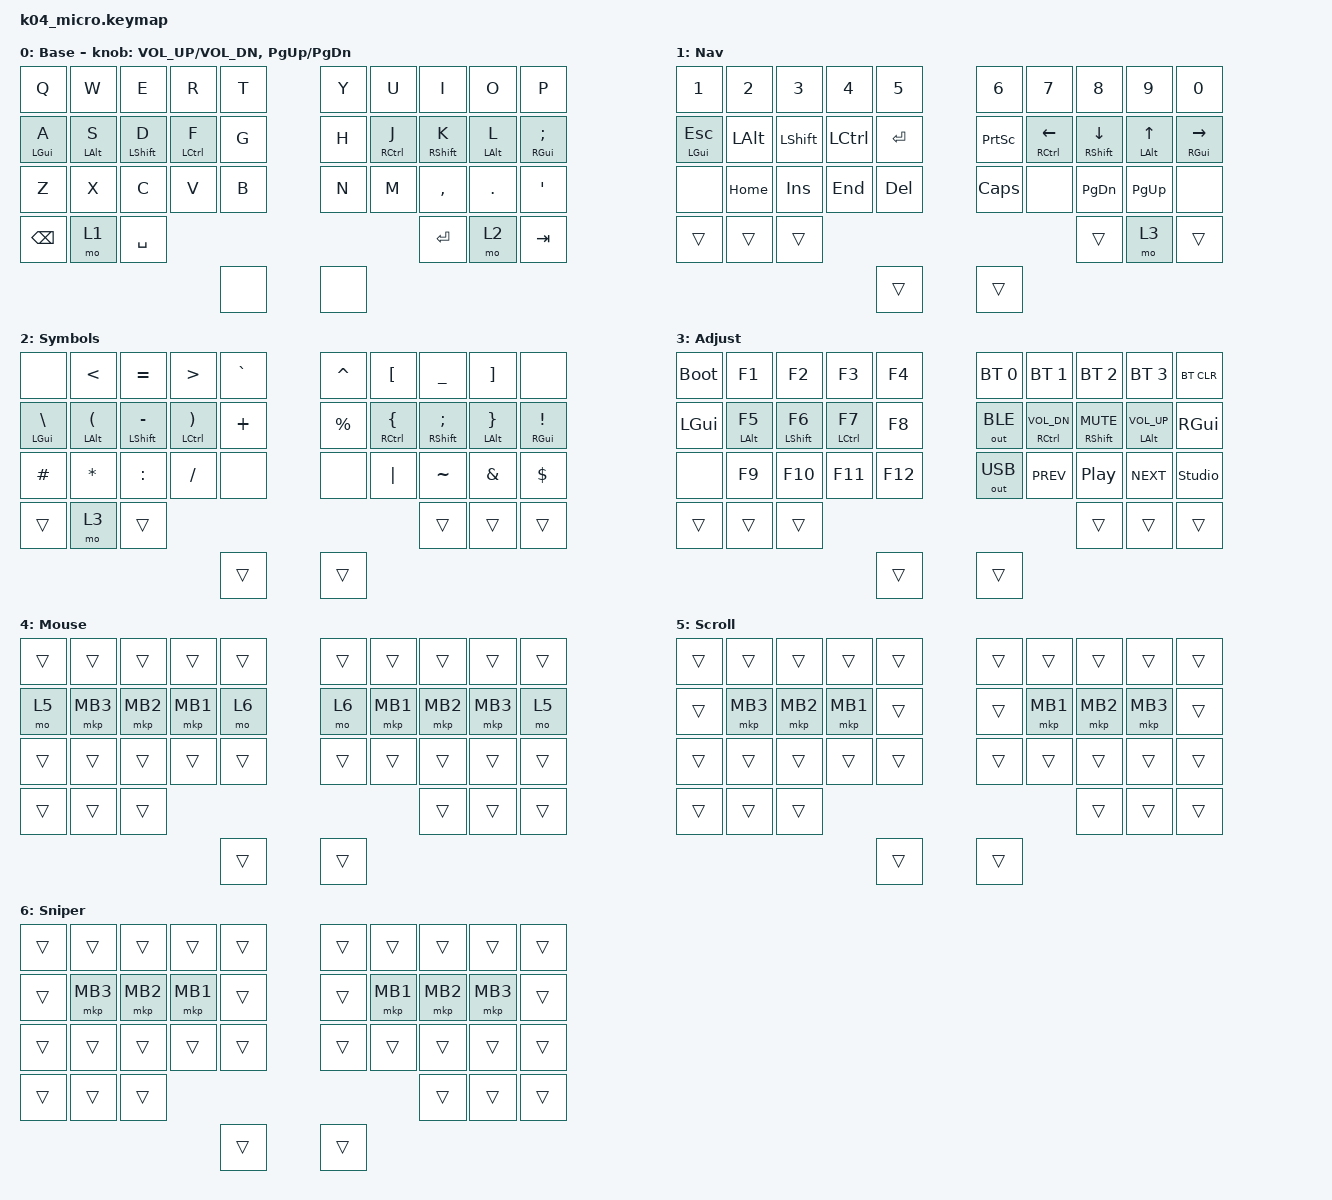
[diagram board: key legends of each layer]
/*
 * K:04 Micro — базовый вариант (аналог op36.keymap)
 *
 * Состав:
 *   - позиции 0-35 и все слои: 1:1 из config/op36.keymap
 *   - позиции 36,37: кнопки модульных отсеков K:04 (у op36 их нет)
 *   - sensor-bindings энкодеров: модель config/imperial44.keymap
 *   - слои Mouse/Scroll/Sniper и обвязка трекбола: из
 *     config/velvet_v3_ui_ruen.keymap, расстановка перенесена
 *     с 6 колонок velvet на 5 колонок K:04
 *
 * Слои: base=0, nav=1, sym=2, adj=3, mouse=4, scroll=5, sniper=6
 *
 * Ряд указателя (mouse): мизинец=Scroll, безым.=ПКМ, средний=СКМ,
 * указат.=ЛКМ, внутр.=Sniper — зеркально на обеих половинах.
 * Слой Mouse включается сам при движении трекбола (zip_auto_mouse).
 */
#include "keys_ru.h"
#include <behaviors.dtsi>
#include <dt-bindings/zmk/bt.h>
#include <dt-bindings/zmk/keys.h>
#include <dt-bindings/zmk/outputs.h>
#include <dt-bindings/zmk/input_transform.h>
#include <input/processors.dtsi>
#include <zephyr/dt-bindings/input/input-event-codes.h>
#include <dt-bindings/zmk/pointing.h>

&mt {
    quick-tap-ms = <200>;
    flavor = "tap-preferred";
    require-prior-idle-ms = <125>;
};

/ {
    behaviors {

        /* Из velvet_v3_ui_ruen: временный слой мыши, включается самим
           движением трекбола. require-prior-idle-ms не даёт слою
           выскочить, если вы только что печатали. */
        zip_auto_mouse: zip_auto_mouse {
            compatible = "zmk,input-processor-temp-layer";
            #input-processor-cells = <2>;
            require-prior-idle-ms = <800>;
            excluded-positions = <>;
        };
        hml: home_row_mod_left {
            compatible = "zmk,behavior-hold-tap";
            #binding-cells = <2>;
            flavor = "balanced";
            require-prior-idle-ms = <150>;
            tapping-term-ms = <280>;
            quick-tap-ms = <175>;
            bindings = <&kp>, <&kp>;

            hold-trigger-key-positions = <5 6 7 8 9 15 16 17 18 19 25 26 27 28 29 33 34 35>;
            hold-trigger-on-release;
        };

        hmr: home_row_mod_right {
            compatible = "zmk,behavior-hold-tap";
            #binding-cells = <2>;
            flavor = "balanced";
            require-prior-idle-ms = <150>;
            tapping-term-ms = <280>;
            quick-tap-ms = <175>;
            bindings = <&kp>, <&kp>;

            hold-trigger-key-positions = <0 1 2 3 4 10 11 12 13 14 20 21 22 23 24 30 31 32>;
            hold-trigger-on-release;
        };
    };

    combos {
        compatible = "zmk,combos";

        kha {
            bindings = <&kp LBKT>;
            key-positions = <6 7>;
        };

        hrdsgn {
            bindings = <&kp RBKT>;
            key-positions = <7 8>;
        };
    };

    keymap {
        compatible = "zmk,keymap";

        base {
            bindings = <
  &kp Q        &kp W        &kp E         &kp R          &kp T                          &kp Y  &kp U         &kp I         &kp O        &kp P
  &hml LGUI A  &hml LALT S  &hml LSHFT D  &hml LCTRL F   &kp G                          &kp H  &hmr RCTRL J  &hmr RSHFT K  &hmr LALT L  &hmr RGUI SEMICOLON
  &kp Z        &kp X        &kp C         &kp V          &kp B                          &kp N  &kp M         &kp COMMA     &kp DOT      &kp SQT
                                          &kp BACKSPACE  &mo 1  &kp SPACE    &kp ENTER  &mo 2  &kp TAB
  &none         &none        /* 36,37: кнопки модульных отсеков K:04 */
            >;

            display-name = "Base";

            /* Энкодеры модульных отсеков, порядок как в
               sensors = <&encoder_L1 &encoder_R1>. Правый отсек занят
               трекболом, его биндинг просто не сработает. */
            sensor-bindings =
                <&inc_dec_kp C_VOL_UP C_VOL_DN>,
                <&inc_dec_kp PG_UP PG_DN>;
        };

        nav {
            bindings = <
  &kp N1         &kp N2    &kp N3     &kp N4     &kp N5                        &kp N6           &kp N7           &kp N8           &kp N9        &kp N0
  &hml LGUI ESC  &kp LALT  &kp LSHFT  &kp LCTRL  &kp ENTER                     &kp PRINTSCREEN  &hmr RCTRL LEFT  &hmr RSHFT DOWN  &hmr LALT UP  &hmr RGUI RIGHT
  &none          &kp HOME  &kp INS    &kp END    &kp DELETE                    &kp CAPS         &none            &kp PG_DN        &kp PG_UP     &none
                                      &trans     &trans      &trans    &trans  &mo 3            &trans
  &trans        &trans       /* 36,37: кнопки модульных отсеков K:04 */
            >;

            display-name = "Nav";
        };

        sym {
            bindings = <
  &none           &kp LT          &kp EQUAL         &kp GT           &kp GRAVE                    &kp CARET  &kp LBKT         &kp UNDER        &kp RBKT        &none
  &hml LGUI BSLH  &hml LALT LPAR  &hml LSHFT MINUS  &hml LCTRL RPAR  &kp PLUS                     &kp PRCNT  &hmr RCTRL LBRC  &hmr RSHFT SEMI  &hmr LALT RBRC  &hmr RGUI EXCL
  &kp HASH        &kp STAR        &kp COLON         &kp FSLH         &none                        &none      &kp PIPE         &kp TILDE        &kp AMPS        &kp DLLR
                                                    &trans           &mo 3      &trans    &trans  &trans     &trans
  &trans        &trans       /* 36,37: кнопки модульных отсеков K:04 */
            >;

            display-name = "Symbols";
        };

        adj {
            bindings = <
  &bootloader  &kp F1        &kp F2         &kp F3         &kp F4                     &bt BT_SEL 0  &bt BT_SEL 1         &bt BT_SEL 2       &bt BT_SEL 3        &bt BT_CLR
  &kp LGUI     &hml LALT F5  &hml LSHFT F6  &hml LCTRL F7  &kp F8                     &out OUT_BLE  &hmr RCTRL C_VOL_DN  &hmr RSHFT C_MUTE  &hmr LALT C_VOL_UP  &kp RGUI
  &none        &kp F9        &kp F10        &kp F11        &kp F12                    &out OUT_USB  &kp C_PREV           &kp C_PP           &kp C_NEXT          &studio_unlock
                                            &trans         &trans   &trans    &trans  &trans        &trans
  &trans        &trans       /* 36,37: кнопки модульных отсеков K:04 */
            >;

            display-name = "Adjust";
        };

        mouse {
            bindings = <
&trans  &trans  &trans  &trans  &trans  &trans  &trans  &trans  &trans  &trans
&mo 5      &mkp MB3   &mkp MB2   &mkp MB1   &mo 6      &mo 6      &mkp MB1   &mkp MB2   &mkp MB3   &mo 5    
&trans  &trans  &trans  &trans  &trans  &trans  &trans  &trans  &trans  &trans
                    &trans   &trans   &trans     &trans   &trans   &trans
&trans   &trans
            >;

            display-name = "Mouse";
        };

        scroll {
            bindings = <
&trans  &trans  &trans  &trans  &trans  &trans  &trans  &trans  &trans  &trans
&trans     &mkp MB3   &mkp MB2   &mkp MB1   &trans     &trans     &mkp MB1   &mkp MB2   &mkp MB3   &trans   
&trans  &trans  &trans  &trans  &trans  &trans  &trans  &trans  &trans  &trans
                    &trans   &trans   &trans     &trans   &trans   &trans
&trans   &trans
            >;

            display-name = "Scroll";
        };

        sniper {
            bindings = <
&trans  &trans  &trans  &trans  &trans  &trans  &trans  &trans  &trans  &trans
&trans     &mkp MB3   &mkp MB2   &mkp MB1   &trans     &trans     &mkp MB1   &mkp MB2   &mkp MB3   &trans   
&trans  &trans  &trans  &trans  &trans  &trans  &trans  &trans  &trans  &trans
                    &trans   &trans   &trans     &trans   &trans   &trans
&trans   &trans
            >;

            display-name = "Sniper";
        };
    };
};

/*
 * Обвязка трекбола — перенесена из velvet_v3_ui_ruen.
 * У нас правая половина central, трекбол подключён к ней напрямую,
 * поэтому zmk,input-split не нужен: хватает обычного листенера.
 *
 * Индексы слоёв пересчитаны под этот кеймап (у velvet были 6/7/8).
 */
&trackball_listener {
    input-processors = <&zip_auto_mouse 4 500>, <&zip_xy_scaler 9 20>;

    scroller {
        layers = <5>;
        input-processors =
            <&zip_xy_transform INPUT_TRANSFORM_Y_INVERT>,
            <&zip_xy_scaler 1 32>,
            <&zip_xy_to_scroll_mapper>;
    };

    sniper {
        layers = <6>;
        input-processors = <&zip_xy_scaler 1 4>;
    };
};
